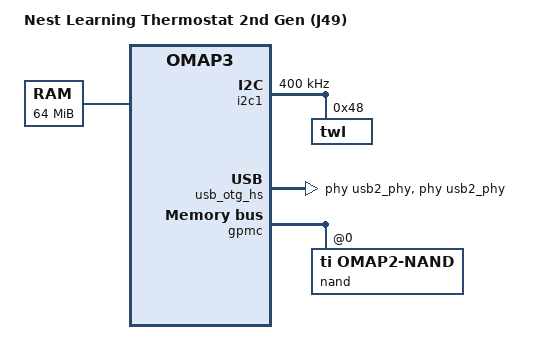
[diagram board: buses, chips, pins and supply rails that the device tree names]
// SPDX-License-Identifier: GPL-2.0-only
/*
 * Nest Learning Thermostat 2nd gen ("J49", board "diamond") -- the DFU
 * installer's U-Boot. RAM-booted by the STOCK x-loader from spl0: linked
 * at 0x80100000 (CONFIG_TEXT_BASE) and wrapped exactly like the stock
 * uImage there (mkimage -T standalone -O u-boot -a/-e 0x80100000), so
 * stock x-loader loads and runs it unchanged.
 *
 * Derived from omap3-beagle.dts (the same TARGET), with the board bits
 * from meta-j49's kernel omap3-nest-j49.dts: 64 MB RAM, UART1 console
 * (the physical W7/V7 test points), TWL4030 on I2C1, MUSB OTG. UART1 and
 * I2C1 pads are already muxed by the stock x-loader; the pinctrl nodes
 * pin them anyway. No display, no mmc, no leds: this is a bootloader.
 */
/dts-v1/;

#include "omap34xx.dtsi"

/ {
	model = "Nest Learning Thermostat 2nd Gen (J49)";
	compatible = "nest,j49", "ti,omap3";

	aliases {
		i2c0 = &i2c1;
		serial0 = &uart1;
	};

	cpus {
		cpu@0 {
			cpu0-supply = <&vcc>;
		};
	};

	memory@80000000 {
		device_type = "memory";
		reg = <0x80000000 0x04000000>; /* 64 MB */
	};
};

&omap3_pmx_core {
	uart1_pins: pinmux_uart1_pins {
		pinctrl-single,pins = <
			/* dedicated pads, same values as the kernel hog */
			OMAP3_CORE1_IOPAD(0x214c, PIN_OUTPUT | MUX_MODE0)	/* uart1_tx, W7 */
			OMAP3_CORE1_IOPAD(0x2152, PIN_INPUT_PULLUP | MUX_MODE0)	/* uart1_rx, V7 */
		>;
	};
};

&uart1 {
	status = "disabled"; /* console off: with it enabled serial_init aborts and the board resets (2026-11-22); UART pads not reachable anyway */
	pinctrl-names = "default";
	pinctrl-0 = <&uart1_pins>;
};

/* one serial node: the console is UART1 by construction */
&uart2 { status = "disabled"; };
&uart3 { status = "disabled"; };

&i2c1 {
	/* 400 kHz, not the 2.6 MHz HS mode beagle uses: on this board the
	 * TWL4030 NACKs after HS-mode retransfers (kernel DTS, 2026-10-27) */
	clock-frequency = <400000>;

	twl: twl@48 {
		reg = <0x48>;
		interrupts = <7>; /* SYS_NIRQ cascaded to intc */
		interrupt-parent = <&intc>;
	};
};

/* the TWL4030 child devices (regulators, usb2_phy for MUSB) need the twl
 * label defined above, exactly like beagle.dts includes them */
#include "twl4030.dtsi"
#include "twl4030_omap3.dtsi"

&i2c2 { status = "disabled"; };
&i2c3 { status = "disabled"; };

&mmc1 { status = "disabled"; };
&mmc2 { status = "disabled"; };
&mmc3 { status = "disabled"; };

&usb_otg_hs {
	/* OTG; a normal USB cable to a host has floating ID = peripheral */
	interface-type = <0>;
	usb-phy = <&usb2_phy>;
	phys = <&usb2_phy>;
	phy-names = "usb2-phy";
	mode = <3>;
	power = <50>;
};

/*
 * NAND on GPMC CS0 (Micron MT29F2G16ABBEAH4, x16): the driver scans the
 * CS configuration the stock x-loader left and takes it over
 * (gpmc_nand_init), so no timings here. Partition offsets live in the
 * default env (nest_j49.env) as raw addresses -- same map as
 * docs/flash-layout.md. Written AND read by this U-Boot only, with its
 * own BCH8-SW ECC; nothing crosses ECC formats except spl0/spl1, which
 * the flashstub writes in stock BCH4 for the stock x-loader.
 */
&gpmc {
	status = "okay";
	ranges = <0 0 0x30000000 0x1000000>; /* CS0 window, 16 MB */

	nand@0,0 {
		compatible = "ti,omap2-nand";
		reg = <0 0 4>;
	};
};
